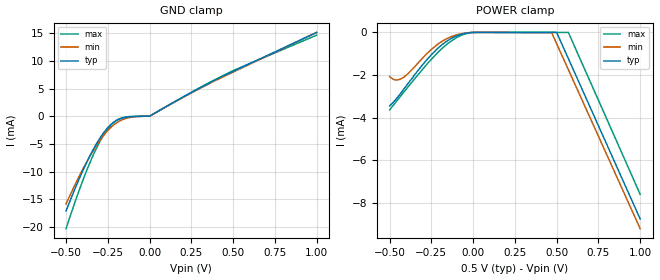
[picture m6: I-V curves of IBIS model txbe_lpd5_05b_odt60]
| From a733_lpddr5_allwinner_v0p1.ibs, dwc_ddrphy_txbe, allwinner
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[Model] txbe_lpd5_05b_odt60
Model_type   Input
Polarity   Non-Inverting
Enable   Active-High
C_comp   934.701fF   930.138fF   945.279fF
C_comp_pullup   281.253fF   273.835fF   284.025fF
C_comp_pulldown   506.569fF   505.587fF   516.603fF
Vinh = 310.000mV
Vinl = 190.000mV
[Model Spec]
D_overshoot_ampl_h 0.1 NA   NA
D_overshoot_ampl_l 0.1 NA   NA
D_overshoot_area_l 300.000m NA   NA
D_overshoot_area_h 300.000m NA   NA
[Receiver Thresholds]
Vth = 125.000mV
Vth_min = 118.000mV
Vth_max = 143.000mV
Vinh_ac = 60.000mV
Vinh_dc = 60.000mV
Vinl_ac = -60.000mV
Vinl_dc = -60.000mV
Tslew_ac = 5.000ns
Threshold_sensitivity = 0.5
Reference_supply Power_clamp_ref
[Temperature Range]   25.000   125.000   -40.000
[Voltage Range]   500.000mV   470.000mV   570.000mV
[GND Clamp Reference]   0.00V   0.00V   0.00V
[C Comp Corner]
| variable   typ   min   max
C_comp   934.701fF   930.138fF   945.279fF
C_comp_pullup   281.253fF   273.835fF   284.025fF
C_comp_pulldown   506.569fF   505.587fF   516.603fF
[POWER Clamp Reference]   500.000mV   470.000mV   570.000mV
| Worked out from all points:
|   GND clamp passes 1 mA (typ) near -0.21 V on its own axis
|   POWER clamp passes 1 mA (typ) near -0.24 V on its own axis
[GND Clamp]
-500mV    -17.13mA   -15.85mA   -20.33mA
-400mV    -9.868mA   -9.609mA   -11.64mA
-330mV    -5.615mA   -5.876mA   -6.543mA
-290mV    -3.627mA   -4.072mA   -4.161mA
-260mV    -2.411mA   -2.926mA   -2.7mA
-230mV    -1.463mA   -1.978mA   -1.57mA
-200mV    -798.5uA   -1.244mA   -791.5uA
-130mV    -136.3uA   -307.6uA   -99.55uA
0V        0A         0A         0A
260mV     4.434mA    4.357mA    4.489mA
470mV     7.676mA    7.539mA    7.798mA
1V        15.14mA    15.15mA    14.64mA
[Power Clamp]
-500mV    -3.454mA   -2.079mA   -3.639mA
-470mV    -3.211mA   -2.228mA   -3.345mA
-420mV    -2.716mA   -2.13mA    -2.855mA
-300mV    -1.494mA   -1.187mA   -1.709mA
-210mV    -735uA     -544.6uA   -937uA
-150mV    -372uA     -265uA     -509uA
-80mV     -111uA     -78.8uA    -171uA
0V        -2.51uA    -1.899uA   -4.502uA
470mV     -1.142uA   -10.65uA   -235nA
500mV     -1.221uA   -531.9uA   -251.8nA
570mV     -1.228mA   -1.748mA   -291.1nA
1V        -8.764mA   -9.219mA   -7.605mA
